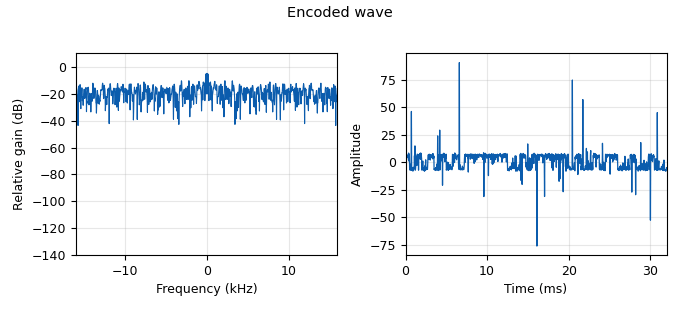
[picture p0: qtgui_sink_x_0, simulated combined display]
options:
  parameters:
    generate_options: qt_gui
    id: alpha_stable_generator
    output_language: python
    run_options: run
    title: Alpha stable simulation
  states: {}

blocks:
- name: alpha_map
  id: variable
  parameters:
    value: '[float(x) for x in alpha_map_str.split(",")]'
  states: {}
- name: beta_map
  id: variable
  parameters:
    value: '[float(x) for x in beta_map_str.split(",")]'
  states: {}
- name: gama_map
  id: variable
  parameters:
    value: '[float(x) for x in gama_map_str.split(",")]'
  states: {}
- name: samp_rate
  id: variable
  parameters:
    value: '32000'
  states: {}
- name: L
  id: parameter
  parameters:
    type: intx
    value: '4'
  states: {}
- name: alpha_map_str
  id: parameter
  parameters:
    type: str
    value: '"1.2,1.4,1.6,1.8"'
  states: {}
- name: analog_noise_source_x_0
  id: analog_noise_source_x
  parameters:
    amp: '0.2'
    noise_type: analog.GR_GAUSSIAN
    seed: '0'
    type: float
  states: {}
- name: analog_random_source_x_0
  id: analog_random_source_x
  parameters:
    max: '255'
    min: '0'
    num_samps: source_number_of_samples
    repeat: 'False'
    type: byte
  states: {}
- name: beta_map_str
  id: parameter
  parameters:
    type: str
    value: '"-1.0,1.0"'
  states: {}
- name: blocks_add_xx_0
  id: blocks_add_xx
  parameters:
    type: float
  states: {}
- name: blocks_file_sink_0
  id: blocks_file_sink
  parameters:
    file: source_file
    type: byte
  states: {}
- name: blocks_file_sink_1
  id: blocks_file_sink
  parameters:
    file: decoded_file
    type: byte
  states: {}
- name: blocks_file_sink_2
  id: blocks_file_sink
  parameters:
    file: encoded_file
    type: float
  states: {}
- name: blocks_head_0
  id: blocks_head
  parameters:
    num_items: source_number_of_samples
    type: byte
  states: {}
- name: blocks_head_1
  id: blocks_head
  parameters:
    num_items: source_number_of_samples*8*samples_per_symbol
    type: float
  states: {}
- name: blocks_head_2
  id: blocks_head
  parameters:
    num_items: source_number_of_samples
    type: byte
  states: {}
- name: blocks_throttle2_0
  id: blocks_throttle2
  parameters:
    samples_per_second: samp_rate
    type: byte
  states: {}
- name: decoded_file
  id: parameter
  parameters:
    type: str
    value: r"C:\Users\ANEDCD~1\Desktop\3.letnik\Diploma\simulations\decoded.bin"
  states: {}
- name: encoded_file
  id: parameter
  parameters:
    type: str
    value: r"C:\Users\ANEDCD~1\Desktop\3.letnik\Diploma\simulations\encoded.bin"
  states: {}
- name: epy_block_0
  id: epy_block
  parameters:
    _source_code: |
      """
      Embedded Python Blocks:

      Each time this file is saved, GRC will instantiate the first class it finds
      to get ports and parameters of your block. The arguments to __init__ will
      be the parameters. All of them are required to have default values!
      """

      import numpy as np
      from gnuradio import gr


      class alpha_encoder(gr.basic_block):
          """Encode bytes into alpha-stable sample bursts."""

          def __init__(self, alpha_map=[1.2, 1.4, 1.6, 1.8], beta_map=[-1.0, -0.3, 0.3, 1.0], gama_map=[0.5, 1.0, 1.5, 2.0], samples_per_symbol=500, encode_alpha=False, encode_beta=True, encode_gama=False):
              gr.basic_block.__init__(
                  self,
                  name='alpha_encoder',
                  in_sig=[np.uint8],
                  out_sig=[np.float32],
              )
              
              self.alpha_map = list(alpha_map)
              self.beta_map = list(beta_map)
              self.gama_map = list(gama_map)
              self.samples_per_symbol = int(samples_per_symbol)
              self.encode_alpha = bool(encode_alpha)
              self.encode_beta = bool(encode_beta)
              self.encode_gama = bool(encode_gama)
              self._bit_buffer = []

              if self.samples_per_symbol <= 0:
                  raise ValueError("samples_per_symbol must be positive")

              if self.encode_alpha and not self.is_power_of_two(len(self.alpha_map)):
                  raise ValueError("alpha_map size must be power of 2")
              if self.encode_beta and not self.is_power_of_two(len(self.beta_map)):
                  raise ValueError("beta_map size must be power of 2")
              if self.encode_gama and not self.is_power_of_two(len(self.gama_map)):
                  raise ValueError("gama_map size must be power of 2")

              self.bits_alpha = self.log2_za_potence2(len(self.alpha_map)) if self.encode_alpha else 0
              self.bits_beta = self.log2_za_potence2(len(self.beta_map)) if self.encode_beta else 0
              self.bits_gama = self.log2_za_potence2(len(self.gama_map)) if self.encode_gama else 0
              self.bits_per_symbol = self.bits_alpha + self.bits_beta + self.bits_gama

              if self.bits_per_symbol <= 0:
                  raise ValueError("At least one of encode_alpha, encode_beta, or encode_gama must be enabled")

          def forecast(self, noutput_items, ninputs):
              """Non-blocking forecast lets encoder flush internal bit buffer at EOS."""
              return [0] * int(ninputs)

          @staticmethod
          def is_power_of_two(x):
              return x > 0 and (x & (x - 1)) == 0

          @staticmethod
          def log2_za_potence2(x):
              if x == 0:
                  return 0

              if alpha_encoder.is_power_of_two(x):
                  vrednost = 0
                  while x > 1:
                      x >>= 1
                      vrednost += 1
                  return vrednost
              raise ValueError("One of the maps is not of power 2^n")

          @staticmethod
          def alpha_stable(size, alpha=1.1, beta=0.0, gama=1.0):
              v_values = np.random.uniform(-np.pi / 2, np.pi / 2, size)
              w_values = np.random.exponential(1, size)

              constant = beta * np.tan(np.pi * alpha / 2)
              shift = np.arctan(constant)
              scale = (1 + constant ** 2) ** (1 / (2 * alpha))

              samples = scale * np.sin(alpha * v_values + shift) / (np.cos(v_values)) ** (1 / alpha) * (np.cos((1 - alpha) * v_values - shift) / w_values) ** ((1 - alpha) / alpha)
              return gama * samples

          @staticmethod
          def _read_bits(bit_buffer, start, count):
              value = 0
              for index in range(count):
                  value |= (bit_buffer[start + index] << index)
              return value

          def _append_input_bits(self, input_bytes):
              for byte in input_bytes:
                  byte_value = int(byte)
                  for bit_index in range(8):
                      self._bit_buffer.append((byte_value >> bit_index) & 1)

          def _encode_one_symbol(self, bit_offset):
              alpha = 1.1
              beta = 0.0
              gama = 1.0
              offset = bit_offset

              if self.encode_alpha:
                  alpha_index = self._read_bits(self._bit_buffer, offset, self.bits_alpha)
                  alpha = self.alpha_map[alpha_index]
                  offset += self.bits_alpha

              if self.encode_beta:
                  beta_index = self._read_bits(self._bit_buffer, offset, self.bits_beta)
                  beta = self.beta_map[beta_index]
                  offset += self.bits_beta

              if self.encode_gama:
                  gama_index = self._read_bits(self._bit_buffer, offset, self.bits_gama)
                  gama = self.gama_map[gama_index]
                  offset += self.bits_gama

              return alpha, beta, gama

          def general_work(self, input_items, output_items):
              input_bytes = input_items[0]
              output_samples = output_items[0]

              if len(input_bytes):
                  self._append_input_bits(input_bytes)

              max_symbols = len(output_samples) // self.samples_per_symbol
              produced_symbols = 0
              bit_offset = 0

              while produced_symbols < max_symbols and len(self._bit_buffer) - bit_offset >= self.bits_per_symbol:
                  alpha, beta, gama = self._encode_one_symbol(bit_offset)
                  samples = self.alpha_stable(self.samples_per_symbol, alpha=alpha, beta=beta, gama=gama).astype(np.float32)

                  start = produced_symbols * self.samples_per_symbol
                  end = start + self.samples_per_symbol
                  output_samples[start:end] = samples

                  produced_symbols += 1
                  bit_offset += self.bits_per_symbol

              if bit_offset:
                  self._bit_buffer = self._bit_buffer[bit_offset:]

              if len(input_bytes):
                  self.consume(0, len(input_bytes))

              return produced_symbols * self.samples_per_symbol
    alpha_map: alpha_map
    beta_map: beta_map
    encode_alpha: 'False'
    encode_beta: 'True'
    encode_gama: 'False'
    gama_map: gama_map
    samples_per_symbol: samples_per_symbol
  states: {}
- name: epy_block_1
  id: epy_block
  parameters:
    L: L
    _source_code: |
      """
      Embedded Python Blocks:

      Each time this file is saved, GRC will instantiate the first class it finds
      to get ports and parameters of your block. The arguments to __init__ will
      be the parameters. All of them are required to have default values!
      """

      import numpy as np
      from gnuradio import gr


      class alpha_decoder(gr.basic_block):
          """Decode alpha-stable sample bursts into a bit stream."""

          def __init__(self, alpha_map=[1.2, 1.4, 1.6, 1.8], beta_map=[-1.0, -0.3, 0.3, 1.0], gama_map=[0.5, 1.0, 1.5, 2.0], samples_per_symbol=500, L=10, encode_alpha=False, encode_beta=True, encode_gama=False):
              gr.basic_block.__init__(
                  self,
                  name='alpha_decoder',   # will show up in GRC
                  in_sig=[np.float32],
                  out_sig=[np.uint8],
              )

              self.alpha_map = list(alpha_map)
              self.beta_map = list(beta_map)
              self.gama_map = list(gama_map)
              self.samples_per_symbol = int(samples_per_symbol)
              self.L = int(L)
              self.encode_alpha = bool(encode_alpha)
              self.encode_beta = bool(encode_beta)
              self.encode_gama = bool(encode_gama)
              self._sample_buffer = np.empty(0, dtype=np.float32)
              self._decoded_bit_buffer = []

              if self.samples_per_symbol <= 0:
                  raise ValueError("samples_per_symbol must be positive")
              if self.L <= 0:
                  raise ValueError("L must be positive")
              if self.samples_per_symbol % self.L != 0:
                  raise ValueError("samples_per_symbol must be divisible by L")
              if self.encode_alpha and not self.is_power_of_two(len(self.alpha_map)):
                  raise ValueError("alpha_map size must be power of 2")
              if self.encode_beta and not self.is_power_of_two(len(self.beta_map)):
                  raise ValueError("beta_map size must be power of 2")
              if self.encode_gama and not self.is_power_of_two(len(self.gama_map)):
                  raise ValueError("gama_map size must be power of 2")

              self.bits_alpha = self.log2_za_potence2(len(self.alpha_map)) if self.encode_alpha else 0
              self.bits_beta = self.log2_za_potence2(len(self.beta_map)) if self.encode_beta else 0
              self.bits_gama = self.log2_za_potence2(len(self.gama_map)) if self.encode_gama else 0
              self.bits_per_symbol = self.bits_alpha + self.bits_beta + self.bits_gama

              if self.bits_per_symbol <= 0:
                  raise ValueError("At least one of encode_alpha, encode_beta, or encode_gama must be enabled")

              # This decoder currently implements only beta estimation.
              if self.encode_alpha or self.encode_gama:
                  raise ValueError("Decoder currently supports only encode_beta=True, encode_alpha=False, encode_gama=False")

              self.expected_chunk = self.samples_per_symbol

          def forecast(self, noutput_items, ninputs):
              """Non-blocking forecast prevents starvation on finite input streams."""
              return [0] * int(ninputs)

          @staticmethod
          def is_power_of_two(x):
              return x > 0 and (x & (x - 1)) == 0

          @staticmethod
          def log2_za_potence2(x):
              if x == 0:
                  return 0

              if alpha_decoder.is_power_of_two(x):
                  vrednost = 0
                  while x > 1:
                      x >>= 1
                      vrednost += 1
                  return vrednost
              raise ValueError("One of the maps is not of power 2^n")

          @staticmethod
          def closest_index(value, values):
              arr = np.array(values, dtype=float)
              if arr.size == 1:
                  return 0
              return int(np.argmin(np.abs(arr - value)))

          def estimate_beta(self, symbol_samples):
              """Vectorized beta estimator from paper."""
              samples_per_realization = self.samples_per_symbol // self.L
              if samples_per_realization <= 0:
                  return 0.0

              # Reshape into L segments and compute max/min per segment
              symbol_array = np.asarray(symbol_samples, dtype=np.float32)
              segments = symbol_array[:samples_per_realization * self.L].reshape(self.L, samples_per_realization)
              
              y_max = np.max(segments, axis=1)
              y_min = np.min(segments, axis=1)

              if y_max.size == 0 or y_min.size == 0:
                  return 0.0

              s2_max = float(np.var(y_max, ddof=1)) if len(y_max) > 1 else 0.0
              s2_min = float(np.var(y_min, ddof=1)) if len(y_min) > 1 else 0.0

              s2_max = float(np.nan_to_num(s2_max, nan=0.0, posinf=0.0, neginf=0.0))
              s2_min = float(np.nan_to_num(s2_min, nan=0.0, posinf=0.0, neginf=0.0))

              spread = np.sqrt(max(0.0, s2_max)) + np.sqrt(max(0.0, s2_min)) + 1e-12
              score = (np.sqrt(max(0.0, s2_max)) - np.sqrt(max(0.0, s2_min))) / spread
              return float(np.clip(score, -1.0, 1.0))

          def _append_input_samples(self, input_samples):
              if input_samples.size:
                  self._sample_buffer = np.concatenate((self._sample_buffer, input_samples.astype(np.float32, copy=False)))

          def general_work(self, input_items, output_items):
              in_samples = input_items[0]
              out = output_items[0]

              if len(out) == 0:
                  return 0

              if len(in_samples) > 0:
                  self._append_input_samples(in_samples)
                  self.consume(0, len(in_samples))

              out_index = 0

              # Drain already decoded bytes first. This is important near end-of-stream.
              buffered_bytes = len(self._decoded_bit_buffer) // 8
              bytes_from_buffer = min(len(out), buffered_bytes)
              for byte_index in range(bytes_from_buffer):
                  base = byte_index * 8
                  byte_value = 0
                  for bit_index in range(8):
                      byte_value |= (self._decoded_bit_buffer[base + bit_index] & 0x1) << bit_index
                  out[out_index] = byte_value
                  out_index += 1

              if bytes_from_buffer > 0:
                  self._decoded_bit_buffer = self._decoded_bit_buffer[bytes_from_buffer * 8:]

              if out_index == len(out):
                  return out_index

              available_symbols = len(self._sample_buffer) // self.expected_chunk
              symbols_to_process = available_symbols

              beta_mask = (1 << self.bits_beta) - 1 if self.bits_beta > 0 else 0

              # First decode all available symbols into a bit buffer.
              for symbol_index in range(symbols_to_process):
                  symbol_start = symbol_index * self.expected_chunk
                  symbol_end = symbol_start + self.expected_chunk
                  symbol_samples = self._sample_buffer[symbol_start:symbol_end]

                  probably_beta = self.estimate_beta(symbol_samples)
                  beta_idx = self.closest_index(probably_beta, self.beta_map) & beta_mask if self.bits_beta > 0 else 0

                  # Emit decoded field bits in encoder order: alpha, beta, gama.
                  for bit_index in range(self.bits_alpha):
                      self._decoded_bit_buffer.append(0)
                  for bit_index in range(self.bits_beta):
                      self._decoded_bit_buffer.append((beta_idx >> bit_index) & 0x1)
                  for bit_index in range(self.bits_gama):
                      self._decoded_bit_buffer.append(0)

              consumed_samples = symbols_to_process * self.expected_chunk
              self._sample_buffer = self._sample_buffer[consumed_samples:]

              # Then pack every 8 decoded bits back into output bytes.
              available_bytes = len(self._decoded_bit_buffer) // 8
              bytes_to_output = min(len(out) - out_index, available_bytes)

              for byte_index in range(bytes_to_output):
                  base = byte_index * 8
                  byte_value = 0
                  for bit_index in range(8):
                      byte_value |= (self._decoded_bit_buffer[base + bit_index] & 0x1) << bit_index
                  out[out_index] = byte_value
                  out_index += 1

              if bytes_to_output > 0:
                  self._decoded_bit_buffer = self._decoded_bit_buffer[bytes_to_output * 8:]

              return out_index
    alpha_map: alpha_map
    beta_map: beta_map
    encode_alpha: 'False'
    encode_beta: 'True'
    encode_gama: 'False'
    gama_map: gama_map
    samples_per_symbol: samples_per_symbol
  states: {}
- name: gama_map_str
  id: parameter
  parameters:
    type: str
    value: '"0.5,1.0,1.5,2.0"'
  states: {}
- name: qtgui_sink_x_0
  id: qtgui_sink_x
  parameters:
    bw: samp_rate
    fc: '0'
    fftsize: '1024'
    name: '"Encoded wave"'
    type: float
  states: {}
- name: samples_per_symbol
  id: parameter
  parameters:
    type: intx
    value: '24'
  states: {}
- name: source_file
  id: parameter
  parameters:
    type: str
    value: r"C:\Users\ANEDCD~1\Desktop\3.letnik\Diploma\simulations\source.bin"
  states: {}
- name: source_number_of_samples
  id: parameter
  parameters:
    type: intx
    value: '128'
  states: {}

connections:
- [analog_noise_source_x_0, '0', blocks_head_1, '0']
- [analog_random_source_x_0, '0', blocks_head_0, '0']
- [blocks_add_xx_0, '0', epy_block_1, '0']
- [blocks_head_0, '0', blocks_file_sink_0, '0']
- [blocks_head_0, '0', blocks_throttle2_0, '0']
- [blocks_head_1, '0', blocks_add_xx_0, '1']
- [blocks_head_2, '0', blocks_file_sink_1, '0']
- [blocks_throttle2_0, '0', epy_block_0, '0']
- [epy_block_0, '0', blocks_add_xx_0, '0']
- [epy_block_0, '0', blocks_file_sink_2, '0']
- [epy_block_0, '0', qtgui_sink_x_0, '0']
- [epy_block_1, '0', blocks_head_2, '0']

metadata:
  file_format: 1
  grc_version: 3.10.12.0
